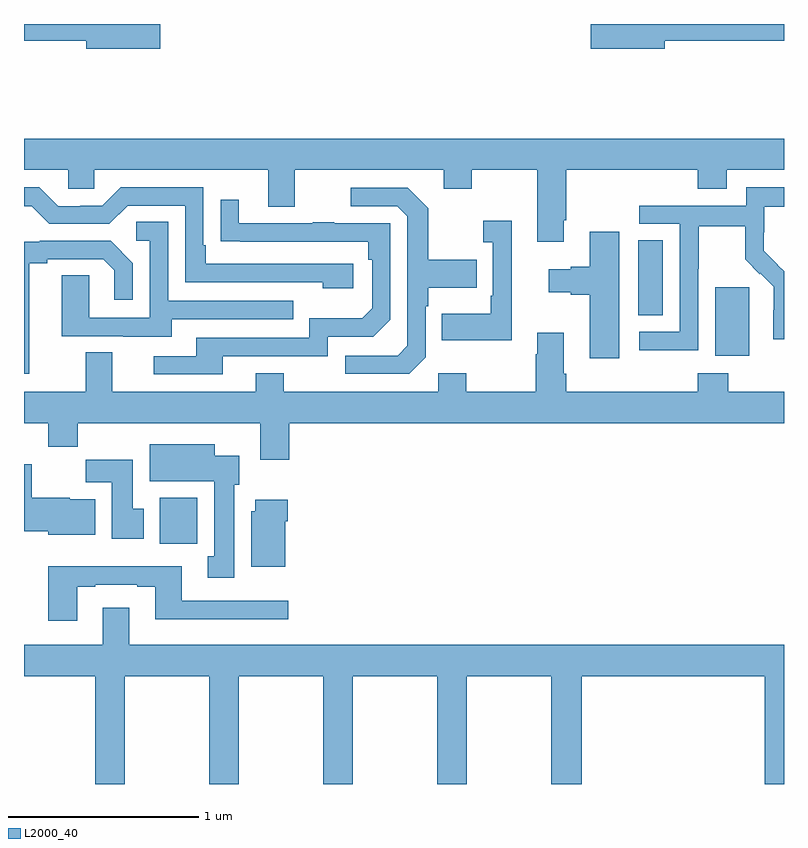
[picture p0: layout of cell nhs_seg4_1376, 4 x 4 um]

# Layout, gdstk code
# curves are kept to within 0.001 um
import gdstk
lib = gdstk.Library(unit=1e-6, precision=1e-09)
def R(c, l, rs):  # rectangles x0, y0, x1, y1
    for r in rs: c.add(gdstk.rectangle(r[:2], r[2:], *l))
def P(c, l, *ps):  # polygons
    for p in ps: c.add(gdstk.Polygon(p, *l))
L2000_40 = (2000, 40)

nhs_seg4_1376 = lib.new_cell('nhs_seg4_1376')
R(nhs_seg4_1376, L2000_40, [(181.715,816.164,181.912,816.406), (184.637,817.154,184.816,817.515), (184.232,817.366,184.363,817.763)])
P(nhs_seg4_1376, L2000_40, [(184.372,818.812),(185,818.812),(185,818.9),(183.984,818.9),(183.984,818.77),(184.372,818.77)],
  [(181.717,818.9),(181,818.9),(181,818.812),(181.328,818.812),(181.328,818.77),(181.717,818.77)],
  [(183.841,817.867),(183.854,817.867),(183.854,818.132),(184.547,818.132),(184.547,818.033),(184.699,818.033),(184.699,818.132),(185,818.132),(185,818.296),(181,818.296),(181,818.132),(181.233,818.132),(181.233,818.034),(181.371,818.034),(181.371,818.132),(182.285,818.132),(182.285,817.938),(182.425,817.938),(182.425,818.132),(183.209,818.132),(183.209,818.033),(183.357,818.033),(183.357,818.132),(183.701,818.132),(183.701,817.755),(183.841,817.755)],
  [(184.548,817.612),(184.551,817.612),(184.551,817.836),(184.795,817.836),(184.795,817.661),(184.872,817.584),(184.875,817.587),(184.946,817.517),(184.946,817.394),(184.944,817.394),(184.944,817.24),(185,817.24),(185,817.598),(184.894,817.706),(184.894,817.803),(184.896,817.803),(184.896,817.937),(185,817.937),(185,818.041),(184.8,818.041),(184.8,817.944),(184.239,817.944),(184.239,817.848),(184.452,817.848),(184.452,817.281),(184.239,817.281),(184.239,817.183),(184.548,817.183)],
  [(182.734,817.638),(181.957,817.638),(181.957,817.735),(181.944,817.735),(181.944,818.04),(181.509,818.04),(181.413,817.944),(181.295,817.944),(181.295,817.941),(181.179,817.941),(181.079,818.041),(181,818.041),(181,817.941),(181.041,817.941),(181.134,817.848),(181.449,817.848),(181.545,817.944),(181.848,817.944),(181.848,817.542),(182.573,817.542),(182.573,817.508),(182.734,817.508)],
  [(183.114,817.146),(183.114,817.415),(183.127,817.415),(183.127,817.511),(183.383,817.511),(183.383,817.659),(183.127,817.659),(183.127,817.931),(183.021,818.037),(182.721,818.037),(182.721,817.941),(182.964,817.941),(183.018,817.887),(183.018,817.206),(182.967,817.155),(182.691,817.155),(182.691,817.059),(183.027,817.059)],
  [(182.047,817.152),(182.598,817.152),(182.598,817.254),(182.838,817.254),(182.928,817.344),(182.928,817.851),(182.633,817.851),(182.633,817.856),(182.521,817.856),(182.521,817.851),(182.131,817.851),(182.131,817.975),(182.035,817.975),(182.035,817.756),(182.812,817.755),(182.812,817.658),(182.832,817.658),(182.832,817.404),(182.779,817.351),(182.502,817.351),(182.502,817.248),(181.907,817.248),(181.907,817.152),(181.683,817.152),(181.683,817.056),(182.047,817.056)],
  [(183.566,817.864),(183.417,817.864),(183.417,817.751),(183.468,817.751),(183.468,817.471),(183.456,817.471),(183.456,817.375),(183.199,817.375),(183.199,817.235),(183.566,817.235)],
  [(181.777,817.347),(182.417,817.347),(182.417,817.443),(181.758,817.443),(181.758,817.859),(181.59,817.859),(181.59,817.758),(181.662,817.758),(181.662,817.353),(181.344,817.353),(181.344,817.577),(181.199,817.577),(181.199,817.257),(181.523,817.257),(181.523,817.253),(181.777,817.253)],
  [(184.132,817.807),(183.977,817.807),(183.977,817.622),(183.878,817.622),(183.878,817.609),(183.762,817.609),(183.762,817.487),(183.878,817.487),(183.878,817.475),(183.977,817.475),(183.977,817.14),(184.132,817.14)],
  [(181.027,817.64),(181.123,817.64),(181.123,817.662),(181.418,817.662),(181.475,817.605),(181.475,817.449),(181.572,817.449),(181.572,817.642),(181.456,817.758),(181.084,817.758),(181.084,817.755),(181,817.755),(181,817.059),(181.027,817.059)],
  [(182.396,816.8),(185,816.8),(185,816.964),(184.707,816.964),(184.707,817.063),(184.547,817.063),(184.547,816.964),(183.854,816.964),(183.854,817.06),(183.841,817.06),(183.841,817.276),(183.701,817.276),(183.701,817.163),(183.694,817.163),(183.694,816.964),(183.327,816.964),(183.327,817.063),(183.18,817.063),(183.18,816.964),(182.367,816.964),(182.367,817.063),(182.219,817.063),(182.219,816.964),(181.465,816.964),(181.465,817.172),(181.325,817.172),(181.325,816.964),(181,816.964),(181,816.8),(181.127,816.8),(181.127,816.676),(181.283,816.676),(181.283,816.8),(182.243,816.8),(182.243,816.606),(182.396,816.606)],
  [(182.107,816.474),(182.134,816.474),(182.134,816.628),(182.005,816.628),(182.005,816.688),(181.661,816.688),(181.661,816.494),(182,816.494),(182,816.098),(181.967,816.098),(181.967,815.985),(182.107,815.985)],
  [(181.63,816.348),(181.573,816.348),(181.573,816.606),(181.324,816.606),(181.324,816.488),(181.463,816.488),(181.463,816.192),(181.63,816.192)],
  [(181.375,816.4),(181.242,816.4),(181.242,816.406),(181.042,816.406),(181.042,816.583),(181,816.583),(181,816.23),(181.128,816.23),(181.128,816.212),(181.375,816.212)],
  [(182.374,816.284),(182.387,816.284),(182.387,816.397),(182.216,816.397),(182.216,816.336),(182.195,816.336),(182.195,816.044),(182.374,816.044)],
  [(181.279,815.937),(181.375,815.937),(181.375,815.949),(181.595,815.949),(181.595,815.937),(181.691,815.937),(181.691,815.768),(182.392,815.768),(182.392,815.865),(181.831,815.865),(181.831,816.046),(181.127,816.046),(181.127,815.76),(181.279,815.76)],
  [(181.555,815.827),(181.415,815.827),(181.415,815.632),(181,815.632),(181,815.468),(181.375,815.468),(181.375,814.9),(181.53,814.9),(181.53,815.468),(181.975,815.468),(181.975,814.9),(182.13,814.9),(182.13,815.468),(182.575,815.468),(182.575,814.9),(182.73,814.9),(182.73,815.468),(183.175,815.468),(183.175,814.9),(183.33,814.9),(183.33,815.468),(183.775,815.468),(183.775,814.9),(183.935,814.9),(183.935,815.468),(184.898,815.468),(184.898,814.9),(185,814.9),(185,815.632),(181.555,815.632)])

lib.write_gds('nhs_seg4_1376.gds')
